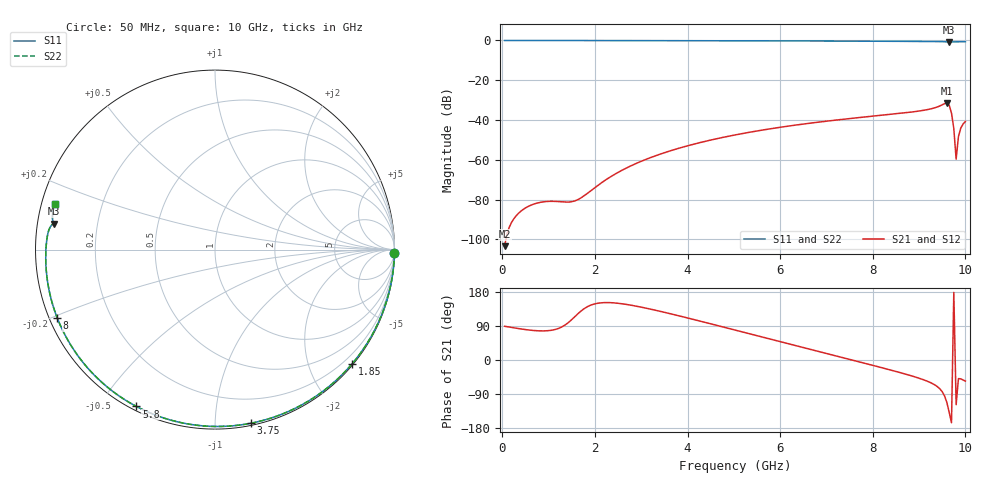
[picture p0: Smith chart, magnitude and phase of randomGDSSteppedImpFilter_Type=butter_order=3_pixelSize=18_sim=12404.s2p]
! freq	dB(S11)	phase(S11)	dB(S12)	phase(S12)
!  dB(S21)	phase(S21)	dB(S22)	phase(S22)
!S-par simulation data
#  GHz  S  DB  R 50
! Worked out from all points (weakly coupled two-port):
!   200 points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, 50 MHz to 10 GHz, reference 50 ohm
!   highest |S21| = -31.49 dB at 9.6 GHz (marker M1); lowest = -103.4 dB at 50 MHz (marker M2)
!   lowest |S11| = -0.8 dB at 9.65 GHz (marker M3), VSWR 21.34, Z = 2.36 + j4 ohm
!   |S11| at or under -10 dB: nowhere
!   |S22| runs from -0.8 to 0.0 dB; largest |S21 - S12| = 0
!   S11 on the Smith chart (normalised r, x): 50 MHz: open; 1.85 GHz: 0.02, -2.75; 3.75 GHz: 0.02, -1.23; 5.8 GHz: 0.02, -0.62; 8 GHz: 0.02, -0.21; 10 GHz: 0.04, +0.14
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0.05  -0.00 -1.1  -103.44 89.0  -103.44 89.0  -0.00 -1.1
0.8  -0.02 -17.5  -81.50 76.9  -81.50 76.9  -0.02 -17.5
1.6  -0.04 -34.7  -80.38 118.2  -80.38 118.2  -0.04 -34.7
1.75  -0.05 -37.8  -78.37 133.9  -78.37 133.9  -0.05 -37.8
1.85  -0.05 -39.9  -76.66 141.4  -76.66 141.4  -0.05 -39.9
2.55  -0.07 -54.5  -65.71 148.9  -65.71 148.9  -0.07 -54.5
3.4  -0.09 -71.5  -57.23 128.7  -57.23 128.7  -0.09 -71.5
3.75  -0.11 -78.4  -54.63 118.5  -54.63 118.5  -0.11 -78.4
5.05  -0.16 -102.9  -47.40 78.3  -47.40 78.3  -0.16 -102.9
5.8  -0.20 -116.6  -44.37 54.7  -44.37 54.7  -0.20 -116.6
6.7  -0.26 -132.9  -41.44 26.5  -41.44 26.5  -0.26 -132.9
8  -0.37 -156.6  -38.07 -14.1  -38.07 -14.1  -0.37 -156.6
8.35  -0.41 -163.2  -37.25 -25.3  -37.25 -25.3  -0.41 -163.2
9.15  -0.51 -178.9  -34.91 -54.6  -34.91 -54.6  -0.51 -178.9
9.6  -0.73 171.4  -31.49 -112.2  -31.49 -112.2  -0.73 171.4
9.65  -0.81 170.8  -32.52 -138.0  -32.52 -138.0  -0.82 170.8
9.7  -0.80 170.6  -36.52 -165.7  -36.52 -165.7  -0.80 170.6
9.75  -0.73 169.8  -44.31 178.2  -44.31 178.2  -0.73 169.8
9.8  -0.69 168.7  -59.68 -117.9  -59.68 -117.9  -0.69 168.7
9.85  -0.67 167.6  -48.34 -49.1  -48.34 -49.1  -0.67 167.6
9.9  -0.66 166.4  -44.10 -49.7  -44.10 -49.7  -0.66 166.4
10  -0.65 164.2  -40.73 -55.7  -40.73 -55.7  -0.65 164.1
